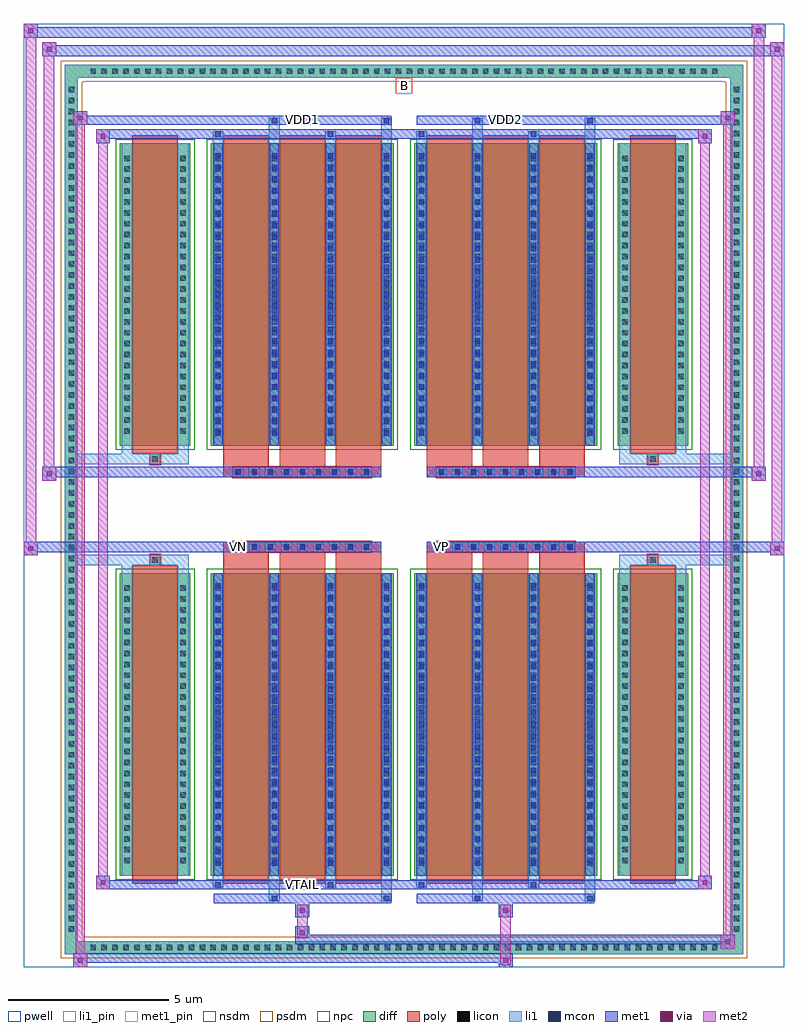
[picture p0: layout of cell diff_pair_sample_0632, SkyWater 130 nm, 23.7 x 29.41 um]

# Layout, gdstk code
import gdstk
lib = gdstk.Library(unit=1e-6, precision=5e-09)
def R(c, l, rs):  # rectangles x0, y0, x1, y1
    for r in rs: c.add(gdstk.rectangle(r[:2], r[2:], *l))
def A(c, l, x, y, w, h, nx, ny, dx, dy):  # array of equal rectangles
    R(c, l, [(x+i*dx, y+j*dy, x+i*dx+w, y+j*dy+h) for i in range(nx) for j in range(ny)])
def P(c, l, *ps):  # polygons
    for p in ps: c.add(gdstk.Polygon(p, *l))
pwell = (64, 44)
diff = (65, 20)
poly = (66, 20)
licon = (66, 44)
li1_pin = (67, 16)
li1 = (67, 20)
mcon = (67, 44)
met1_pin = (68, 16)
met1 = (68, 20)
via = (68, 44)
met2 = (69, 20)
nsdm = (93, 44)
psdm = (94, 20)
npc = (95, 20)

diff_pair_sample_0632 = lib.new_cell('diff_pair_sample_0632')
R(diff_pair_sample_0632, pwell, [(-11.85,-14.27,11.85,15.14), (-9.17,-12.46,-0.01,-0.8), (0.01,-12.46,9.17,-0.8), (-9.17,0.8,-0.01,12.46), (0.01,0.8,9.17,12.46)])
A(diff_pair_sample_0632, diff, -9.895, -13.87, 0.41, 0.41, 58, 2, 0.34, 27.33)
A(diff_pair_sample_0632, diff, -10.58, -13.295, 0.41, 0.41, 1, 78, 0, 0.34)
A(diff_pair_sample_0632, diff, 10.17, -13.295, 0.41, 0.41, 1, 78, 0, 0.34)
R(diff_pair_sample_0632, diff, [(-9.895,-13.87,9.895,-13.46), (-10.58,-13.295,-10.17,13.295), (10.17,-13.295,10.58,13.295), (-8.86,-11.415,-6.66,-1.985), (-6.02,-11.415,-0.32,-1.985), (0.32,-11.415,6.02,-1.985), (6.66,-11.415,8.86,-1.985), (-8.86,1.985,-6.66,11.415), (-6.02,1.985,-0.32,11.415), (0.32,1.985,6.02,11.415), (6.66,1.985,8.86,11.415), (-9.895,13.46,9.895,13.87)])
P(diff_pair_sample_0632, diff, [(10.58,13.87),(-10.58,13.87),(-10.58,-13.46),(-10.17,-13.46),(-10.17,13.46),(10.17,13.46),(10.17,-13.46),(-10.17,-13.46),(-10.58,-13.46),(-10.58,-13.87),(10.58,-13.87)])
A(diff_pair_sample_0632, poly, -5.63, -11.665, 1.42, 9.93, 3, 2, 1.75, 13.4)
A(diff_pair_sample_0632, poly, 0.71, -11.665, 1.42, 9.93, 3, 2, 1.75, 13.4)
A(diff_pair_sample_0632, poly, -5.63, -1.735, 1.42, 0.405, 3, 2, 1.75, 3.065)
A(diff_pair_sample_0632, poly, 0.71, -1.735, 1.42, 0.405, 3, 2, 1.75, 3.065)
A(diff_pair_sample_0632, poly, -5.335, -1.33, 0.33, 0.33, 9, 2, 0.5, 2.33)
A(diff_pair_sample_0632, poly, 1.005, -1.33, 0.33, 0.33, 9, 2, 0.5, 2.33)
R(diff_pair_sample_0632, poly, [(-8.47,-11.665,-7.05,-1.735), (7.05,-11.665,8.47,-1.735), (-7.925,-1.735,-7.595,-1.405), (-7.925,-1.735,-7.595,-1.405), (7.595,-1.735,7.925,-1.405), (7.595,-1.735,7.925,-1.405), (-5.63,-1.33,-0.71,-1), (0.71,-1.33,5.63,-1), (-5.63,1,-0.71,1.33), (0.71,1,5.63,1.33), (-7.925,1.405,-7.595,1.735), (-7.925,1.405,-7.595,1.735), (7.595,1.405,7.925,1.735), (7.595,1.405,7.925,1.735), (-8.47,1.735,-7.05,11.665), (7.05,1.735,8.47,11.665)])
A(diff_pair_sample_0632, licon, -9.775, -13.75, 0.17, 0.17, 58, 2, 0.34, 27.33)
A(diff_pair_sample_0632, licon, -10.46, -13.175, 0.17, 0.17, 1, 78, 0, 0.34)
A(diff_pair_sample_0632, licon, 10.29, -13.175, 0.17, 0.17, 1, 78, 0, 0.34)
A(diff_pair_sample_0632, licon, -8.72, -11.035, 0.17, 0.17, 1, 26, 0, 0.34)
A(diff_pair_sample_0632, licon, -6.97, -11.035, 0.17, 0.17, 1, 26, 0, 0.34)
A(diff_pair_sample_0632, licon, -5.88, -11.035, 0.17, 0.17, 4, 26, 1.75, 0.34)
A(diff_pair_sample_0632, licon, 0.46, -11.035, 0.17, 0.17, 4, 26, 1.75, 0.34)
A(diff_pair_sample_0632, licon, 6.8, -11.035, 0.17, 0.17, 1, 26, 0, 0.34)
A(diff_pair_sample_0632, licon, 8.55, -11.035, 0.17, 0.17, 1, 26, 0, 0.34)
A(diff_pair_sample_0632, licon, -5.255, -1.25, 0.17, 0.17, 9, 2, 0.5, 2.33)
A(diff_pair_sample_0632, licon, 1.085, -1.25, 0.17, 0.17, 9, 2, 0.5, 2.33)
A(diff_pair_sample_0632, licon, -8.72, 2.365, 0.17, 0.17, 1, 26, 0, 0.34)
A(diff_pair_sample_0632, licon, -6.97, 2.365, 0.17, 0.17, 1, 26, 0, 0.34)
A(diff_pair_sample_0632, licon, -5.88, 2.365, 0.17, 0.17, 4, 26, 1.75, 0.34)
A(diff_pair_sample_0632, licon, 0.46, 2.365, 0.17, 0.17, 4, 26, 1.75, 0.34)
A(diff_pair_sample_0632, licon, 6.8, 2.365, 0.17, 0.17, 1, 26, 0, 0.34)
A(diff_pair_sample_0632, licon, 8.55, 2.365, 0.17, 0.17, 1, 26, 0, 0.34)
R(diff_pair_sample_0632, licon, [(-7.845,-1.655,-7.675,-1.485), (7.675,-1.655,7.845,-1.485), (-7.845,1.485,-7.675,1.655), (7.675,1.485,7.845,1.655)])
R(diff_pair_sample_0632, li1_pin, [(-0.25,12.96,0.25,13.46)])
A(diff_pair_sample_0632, li1, -9.855, -13.83, 0.33, 0.33, 58, 2, 0.34, 27.33)
A(diff_pair_sample_0632, li1, -10.54, -13.255, 0.33, 0.33, 1, 78, 0, 0.34)
A(diff_pair_sample_0632, li1, 10.21, -13.255, 0.33, 0.33, 1, 78, 0, 0.34)
A(diff_pair_sample_0632, li1, -5.96, -11.415, 0.33, 9.43, 4, 2, 1.75, 13.4)
A(diff_pair_sample_0632, li1, 0.38, -11.415, 0.33, 9.43, 4, 2, 1.75, 13.4)
A(diff_pair_sample_0632, li1, -8.8, -11.115, 0.33, 0.33, 1, 26, 0, 0.34)
A(diff_pair_sample_0632, li1, -7.05, -11.115, 0.33, 0.33, 1, 26, 0, 0.34)
A(diff_pair_sample_0632, li1, -5.96, -11.115, 0.33, 0.33, 4, 26, 1.75, 0.34)
A(diff_pair_sample_0632, li1, 0.38, -11.115, 0.33, 0.33, 4, 26, 1.75, 0.34)
A(diff_pair_sample_0632, li1, 6.72, -11.115, 0.33, 0.33, 1, 26, 0, 0.34)
A(diff_pair_sample_0632, li1, 8.47, -11.115, 0.33, 0.33, 1, 26, 0, 0.34)
A(diff_pair_sample_0632, li1, -5.88, -11.105, 0.17, 0.17, 4, 25, 1.75, 0.36)
A(diff_pair_sample_0632, li1, -5.88, -11.105, 0.17, 8.81, 4, 2, 1.75, 13.4)
A(diff_pair_sample_0632, li1, 0.46, -11.105, 0.17, 0.17, 4, 25, 1.75, 0.36)
A(diff_pair_sample_0632, li1, 0.46, -11.105, 0.17, 8.81, 4, 2, 1.75, 13.4)
A(diff_pair_sample_0632, li1, -5.335, -1.33, 0.33, 0.33, 9, 2, 0.5, 2.33)
A(diff_pair_sample_0632, li1, 1.005, -1.33, 0.33, 0.33, 9, 2, 0.5, 2.33)
A(diff_pair_sample_0632, li1, -8.8, 2.285, 0.33, 0.33, 1, 26, 0, 0.34)
A(diff_pair_sample_0632, li1, -7.05, 2.285, 0.33, 0.33, 1, 26, 0, 0.34)
A(diff_pair_sample_0632, li1, -5.96, 2.285, 0.33, 0.33, 4, 26, 1.75, 0.34)
A(diff_pair_sample_0632, li1, 0.38, 2.285, 0.33, 0.33, 4, 26, 1.75, 0.34)
A(diff_pair_sample_0632, li1, 6.72, 2.285, 0.33, 0.33, 1, 26, 0, 0.34)
A(diff_pair_sample_0632, li1, 8.47, 2.285, 0.33, 0.33, 1, 26, 0, 0.34)
A(diff_pair_sample_0632, li1, -5.88, 2.295, 0.17, 0.17, 4, 25, 1.75, 0.36)
A(diff_pair_sample_0632, li1, 0.46, 2.295, 0.17, 0.17, 4, 25, 1.75, 0.36)
R(diff_pair_sample_0632, li1, [(-10.58,-13.87,-10.17,-13.46), (-10.58,-13.87,-10.17,-13.46), (-10.17,-13.87,10.17,-13.46), (10.17,-13.87,10.58,-13.46), (10.17,-13.87,10.58,-13.46), (-10.58,-13.46,-10.17,13.46), (10.17,-13.46,10.58,13.46), (-4.21,-12.22,-3.88,-11.415), (-4.13,-12.22,-3.96,-12.05), (-0.71,-12.22,-0.38,-11.415), (-0.63,-12.22,-0.46,-12.05), (2.13,-12.22,2.46,-11.415), (2.21,-12.22,2.38,-12.05), (5.63,-12.22,5.96,-11.415), (5.71,-12.22,5.88,-12.05), (-5.96,-11.79,-5.63,-11.415), (-5.88,-11.79,-5.71,-11.62), (-2.46,-11.79,-2.13,-11.415), (-2.38,-11.79,-2.21,-11.62), (0.38,-11.79,0.71,-11.415), (0.46,-11.79,0.63,-11.62), (3.88,-11.79,4.21,-11.415), (3.96,-11.79,4.13,-11.62), (-8.8,-11.415,-8.47,-1.985), (-7.05,-11.415,-6.72,-1.985), (6.72,-11.415,7.05,-1.985), (8.47,-11.415,8.8,-1.985), (-8.8,-1.985,-8.47,-1.405), (-7.05,-1.985,-6.72,-1.405), (6.72,-1.985,7.05,-1.405), (8.47,-1.985,8.8,-1.405), (-10.58,-1.735,-7.925,-1.405), (-8.8,-1.735,-7.925,-1.405), (-7.925,-1.735,-7.595,-1.405), (-7.595,-1.735,-6.72,-1.405), (6.72,-1.735,7.595,-1.405), (7.595,-1.735,7.925,-1.405), (7.595,-1.735,10.58,-1.405), (7.925,-1.735,8.8,-1.405), (-10.58,1.405,-7.925,1.735), (-8.8,1.405,-7.925,1.735), (-8.8,1.405,-8.47,1.985), (-7.925,1.405,-7.595,1.735), (-7.595,1.405,-6.72,1.735), (-7.05,1.405,-6.72,1.985), (6.72,1.405,7.595,1.735), (6.72,1.405,7.05,1.985), (7.595,1.405,7.925,1.735), (7.595,1.405,10.58,1.735), (7.925,1.405,8.8,1.735), (8.47,1.405,8.8,1.985), (-8.8,1.985,-8.47,11.415), (-7.05,1.985,-6.72,11.415), (6.72,1.985,7.05,11.415), (8.47,1.985,8.8,11.415), (-5.96,11.415,-5.63,11.79), (-4.21,11.415,-3.88,12.22), (-2.46,11.415,-2.13,11.79), (-0.71,11.415,-0.38,12.22), (0.38,11.415,0.71,11.79), (2.13,11.415,2.46,12.22), (3.88,11.415,4.21,11.79), (5.63,11.415,5.96,12.22), (-5.88,11.62,-5.71,11.79), (-2.38,11.62,-2.21,11.79), (0.46,11.62,0.63,11.79), (3.96,11.62,4.13,11.79), (-4.13,12.05,-3.96,12.22), (-0.63,12.05,-0.46,12.22), (2.21,12.05,2.38,12.22), (5.71,12.05,5.88,12.22), (-10.58,13.46,-10.17,13.87), (-10.58,13.46,-10.17,13.87), (-10.17,13.46,10.17,13.87), (10.17,13.46,10.58,13.87), (10.17,13.46,10.58,13.87)])
A(diff_pair_sample_0632, mcon, -5.88, -11.105, 0.17, 0.17, 4, 25, 1.75, 0.36)
A(diff_pair_sample_0632, mcon, 0.46, -11.105, 0.17, 0.17, 4, 25, 1.75, 0.36)
A(diff_pair_sample_0632, mcon, -5.255, -1.25, 0.17, 0.17, 9, 2, 0.5, 2.33)
A(diff_pair_sample_0632, mcon, 1.085, -1.25, 0.17, 0.17, 9, 2, 0.5, 2.33)
A(diff_pair_sample_0632, mcon, -5.88, 2.295, 0.17, 0.17, 4, 25, 1.75, 0.36)
A(diff_pair_sample_0632, mcon, 0.46, 2.295, 0.17, 0.17, 4, 25, 1.75, 0.36)
R(diff_pair_sample_0632, mcon, [(-4.13,-12.22,-3.96,-12.05), (-0.63,-12.22,-0.46,-12.05), (2.21,-12.22,2.38,-12.05), (5.71,-12.22,5.88,-12.05), (-5.88,-11.79,-5.71,-11.62), (-2.38,-11.79,-2.21,-11.62), (0.46,-11.79,0.63,-11.62), (3.96,-11.79,4.13,-11.62), (-5.88,11.62,-5.71,11.79), (-2.38,11.62,-2.21,11.79), (0.46,11.62,0.63,11.79), (3.96,11.62,4.13,11.79), (-4.13,12.05,-3.96,12.22), (-0.63,12.05,-0.46,12.22), (2.21,12.05,2.38,12.22), (5.71,12.05,5.88,12.22)])
R(diff_pair_sample_0632, met1_pin, [(-3.305,-11.83,-3.035,-11.56), (-5.305,-1.29,-5.035,-1.02), (1.035,-1.29,1.305,-1.02), (-3.305,12.01,-3.035,12.28), (3.035,12.01,3.305,12.28)])
A(diff_pair_sample_0632, met1, -5.94, -11.415, 0.29, 9.43, 4, 2, 1.75, 13.4)
A(diff_pair_sample_0632, met1, 0.4, -11.415, 0.29, 9.43, 4, 2, 1.75, 13.4)
A(diff_pair_sample_0632, met1, -5.94, -11.165, 0.29, 0.29, 4, 25, 1.75, 0.36)
A(diff_pair_sample_0632, met1, 0.4, -11.165, 0.29, 0.29, 4, 25, 1.75, 0.36)
A(diff_pair_sample_0632, met1, -5.315, -1.31, 0.29, 0.29, 9, 2, 0.5, 2.33)
A(diff_pair_sample_0632, met1, 1.025, -1.31, 0.29, 0.29, 9, 2, 0.5, 2.33)
A(diff_pair_sample_0632, met1, -5.94, 2.235, 0.29, 0.29, 4, 25, 1.75, 0.36)
A(diff_pair_sample_0632, met1, 0.4, 2.235, 0.29, 0.29, 4, 25, 1.75, 0.36)
R(diff_pair_sample_0632, met1, [(-10.31,-14.27,-9.88,-13.84), (2.955,-14.27,3.385,-13.84), (-10.31,-14.13,3.385,-13.84), (9.88,-13.7,10.31,-13.27), (-3.385,-13.56,10.31,-13.27), (-3.385,-13.42,-2.955,-12.99), (-3.385,-12.71,-2.955,-12.28), (2.955,-12.71,3.385,-12.28), (-5.94,-12.28,-0.4,-11.99), (-4.19,-12.28,-3.9,-11.99), (-0.69,-12.28,-0.4,-11.99), (0.4,-12.28,5.94,-11.99), (2.15,-12.28,2.44,-11.99), (5.65,-12.28,5.94,-11.99), (-9.6,-11.85,-9.17,-11.42), (-9.6,-11.85,-5.94,-11.56), (-5.94,-11.85,-5.65,-11.56), (-5.94,-11.85,-0.4,-11.56), (-2.44,-11.85,-2.15,-11.56), (-0.4,-11.85,0.4,-11.56), (0.4,-11.85,0.69,-11.56), (0.4,-11.85,5.94,-11.56), (3.9,-11.85,4.19,-11.56), (5.94,-11.85,9.6,-11.56), (9.17,-11.85,9.6,-11.42), (-11.85,-1.43,-11.42,-1), (11.42,-1.43,11.85,-1), (-11.85,-1.33,-0.71,-1), (-5.63,-1.33,-0.71,-1), (0.71,-1.33,5.63,-1), (0.71,-1.33,11.85,-1), (-11.28,0.9,-10.85,1.33), (10.85,0.9,11.28,1.33), (-11.28,1,-5.63,1.33), (-5.63,1,-0.71,1.33), (0.71,1,5.63,1.33), (5.63,1,11.28,1.33), (-9.6,11.42,-9.17,11.85), (9.17,11.42,9.6,11.85), (-9.6,11.56,-5.94,11.85), (-5.94,11.56,-5.65,11.85), (-5.94,11.56,-0.4,11.85), (-2.44,11.56,-2.15,11.85), (-0.4,11.56,0.4,11.85), (0.4,11.56,0.69,11.85), (0.4,11.56,5.94,11.85), (3.9,11.56,4.19,11.85), (5.94,11.56,9.6,11.85), (-10.31,11.99,-9.88,12.42), (-10.31,11.99,-5.94,12.28), (-5.94,11.99,-0.4,12.28), (-4.19,11.99,-3.9,12.28), (-0.69,11.99,-0.4,12.28), (0.4,11.99,5.94,12.28), (2.15,11.99,2.44,12.28), (5.65,11.99,5.94,12.28), (5.94,11.99,10.31,12.28), (9.88,11.99,10.31,12.42), (-11.28,14.14,-10.85,14.57), (-11.28,14.14,-9.17,14.47), (-9.17,14.14,9.17,14.47), (9.17,14.14,11.85,14.47), (11.42,14.14,11.85,14.57), (-11.85,14.71,-11.42,15.14), (-11.85,14.71,-9.17,15.04), (-9.17,14.71,9.17,15.04), (9.17,14.71,11.28,15.04), (10.85,14.71,11.28,15.14)])
R(diff_pair_sample_0632, via, [(-10.17,-14.13,-10.02,-13.98), (3.095,-14.13,3.245,-13.98), (10.02,-13.56,10.17,-13.41), (-3.245,-13.28,-3.095,-13.13), (-3.245,-12.57,-3.095,-12.42), (3.095,-12.57,3.245,-12.42), (-9.46,-11.71,-9.31,-11.56), (9.31,-11.71,9.46,-11.56), (-11.71,-1.29,-11.56,-1.14), (11.56,-1.29,11.71,-1.14), (-11.14,1.04,-10.99,1.19), (10.99,1.04,11.14,1.19), (-9.46,11.56,-9.31,11.71), (9.31,11.56,9.46,11.71), (-10.17,12.13,-10.02,12.28), (10.02,12.13,10.17,12.28), (-11.14,14.28,-10.99,14.43), (11.56,14.28,11.71,14.43), (-11.71,14.85,-11.56,15), (10.99,14.85,11.14,15)])
R(diff_pair_sample_0632, met2, [(-10.31,-14.27,-9.88,-13.84), (-10.24,-14.27,-9.95,12.42), (-9.95,-14.27,-9.88,-13.84), (-10.26,-14.22,-9.93,-13.89), (3.005,-14.22,3.335,-13.89), (3.005,-13.89,3.335,-12.66), (9.88,-13.7,10.31,-13.27), (9.95,-13.7,10.24,12.42), (10.24,-13.7,10.31,-13.27), (9.93,-13.65,10.26,-13.32), (-3.335,-13.37,-3.005,-13.04), (-3.335,-13.04,-3.005,-12.66), (-3.335,-12.66,-3.005,-12.33), (3.005,-12.66,3.335,-12.33), (-9.6,-11.85,-9.17,-11.42), (-9.53,-11.85,-9.24,11.85), (-9.24,-11.85,-9.17,-11.42), (9.17,-11.85,9.6,-11.42), (9.24,-11.85,9.53,11.85), (9.53,-11.85,9.6,-11.42), (-9.55,-11.8,-9.22,-11.47), (9.22,-11.8,9.55,-11.47), (-11.85,-1.43,-11.42,-1), (-11.8,-1.43,-11.47,15.14), (-11.47,-1.43,-11.42,-1), (11.42,-1.43,11.85,-1), (11.47,-1.43,11.8,14.57), (11.8,-1.43,11.85,-1), (-11.8,-1.38,-11.47,-1.05), (11.47,-1.38,11.8,-1.05), (-11.28,0.9,-10.85,1.33), (-11.23,0.9,-10.9,14.57), (-10.9,0.9,-10.85,1.33), (10.85,0.9,11.28,1.33), (10.9,0.9,11.23,15.14), (11.23,0.9,11.28,1.33), (-11.23,0.95,-10.9,1.28), (10.9,0.95,11.23,1.28), (-9.6,11.42,-9.17,11.85), (-9.24,11.42,-9.17,11.85), (9.17,11.42,9.6,11.85), (9.53,11.42,9.6,11.85), (-9.55,11.47,-9.22,11.8), (9.22,11.47,9.55,11.8), (-10.31,11.99,-9.88,12.42), (-9.95,11.99,-9.88,12.42), (9.88,11.99,10.31,12.42), (10.24,11.99,10.31,12.42), (-10.26,12.04,-9.93,12.37), (9.93,12.04,10.26,12.37), (-11.28,14.14,-10.85,14.57), (-10.9,14.14,-10.85,14.57), (11.42,14.14,11.85,14.57), (11.8,14.14,11.85,14.57), (-11.23,14.19,-10.9,14.52), (11.47,14.19,11.8,14.52), (-11.85,14.71,-11.42,15.14), (-11.47,14.71,-11.42,15.14), (10.85,14.71,11.28,15.14), (11.23,14.71,11.28,15.14), (-11.8,14.76,-11.47,15.09), (10.9,14.76,11.23,15.09)])
R(diff_pair_sample_0632, nsdm, [(-8.99,-11.545,-6.53,-1.855), (-6.15,-11.545,-0.19,-1.855), (0.19,-11.545,6.15,-1.855), (6.53,-11.545,8.99,-1.855), (-8.99,1.855,-6.53,11.545), (-6.15,1.855,-0.19,11.545), (0.19,1.855,6.15,11.545), (6.53,1.855,8.99,11.545)])
P(diff_pair_sample_0632, psdm, [(10.71,14),(-10.71,14),(-10.71,-13.33),(-10.04,-13.33),(-10.04,13.33),(10.04,13.33),(10.04,-13.33),(-10.04,-13.33),(-10.71,-13.33),(-10.71,-14),(10.71,-14)])
A(diff_pair_sample_0632, npc, -5.355, -1.35, 0.37, 0.37, 9, 2, 0.5, 2.33)
A(diff_pair_sample_0632, npc, 0.985, -1.35, 0.37, 0.37, 9, 2, 0.5, 2.33)
R(diff_pair_sample_0632, npc, [(-7.945,-1.755,-7.575,-1.385), (7.575,-1.755,7.945,-1.385), (-5.355,-1.35,-4.485,-0.98), (-5.355,-1.35,-4.485,-0.98), (-4.855,-1.35,-3.985,-0.98), (-4.855,-1.35,-3.985,-0.98), (-4.355,-1.35,-3.485,-0.98), (-4.355,-1.35,-3.485,-0.98), (-3.855,-1.35,-2.985,-0.98), (-3.855,-1.35,-2.985,-0.98), (-3.355,-1.35,-2.485,-0.98), (-3.355,-1.35,-2.485,-0.98), (-2.855,-1.35,-1.985,-0.98), (-2.855,-1.35,-1.985,-0.98), (-2.355,-1.35,-1.485,-0.98), (-2.355,-1.35,-1.485,-0.98), (-1.855,-1.35,-0.985,-0.98), (-1.855,-1.35,-0.985,-0.98), (0.985,-1.35,1.855,-0.98), (0.985,-1.35,1.855,-0.98), (1.485,-1.35,2.355,-0.98), (1.485,-1.35,2.355,-0.98), (1.985,-1.35,2.855,-0.98), (1.985,-1.35,2.855,-0.98), (2.485,-1.35,3.355,-0.98), (2.485,-1.35,3.355,-0.98), (2.985,-1.35,3.855,-0.98), (2.985,-1.35,3.855,-0.98), (3.485,-1.35,4.355,-0.98), (3.485,-1.35,4.355,-0.98), (3.985,-1.35,4.855,-0.98), (3.985,-1.35,4.855,-0.98), (4.485,-1.35,5.355,-0.98), (4.485,-1.35,5.355,-0.98), (-5.355,0.98,-4.485,1.35), (-5.355,0.98,-4.485,1.35), (-4.855,0.98,-3.985,1.35), (-4.855,0.98,-3.985,1.35), (-4.355,0.98,-3.485,1.35), (-4.355,0.98,-3.485,1.35), (-3.855,0.98,-2.985,1.35), (-3.855,0.98,-2.985,1.35), (-3.355,0.98,-2.485,1.35), (-3.355,0.98,-2.485,1.35), (-2.855,0.98,-1.985,1.35), (-2.855,0.98,-1.985,1.35), (-2.355,0.98,-1.485,1.35), (-2.355,0.98,-1.485,1.35), (-1.855,0.98,-0.985,1.35), (-1.855,0.98,-0.985,1.35), (0.985,0.98,1.855,1.35), (0.985,0.98,1.855,1.35), (1.485,0.98,2.355,1.35), (1.485,0.98,2.355,1.35), (1.985,0.98,2.855,1.35), (1.985,0.98,2.855,1.35), (2.485,0.98,3.355,1.35), (2.485,0.98,3.355,1.35), (2.985,0.98,3.855,1.35), (2.985,0.98,3.855,1.35), (3.485,0.98,4.355,1.35), (3.485,0.98,4.355,1.35), (3.985,0.98,4.855,1.35), (3.985,0.98,4.855,1.35), (4.485,0.98,5.355,1.35), (4.485,0.98,5.355,1.35), (-7.945,1.385,-7.575,1.755), (7.575,1.385,7.945,1.755)])
diff_pair_sample_0632.add(gdstk.Label('VTAIL', (-3.17,-11.695), layer=68, texttype=5))
diff_pair_sample_0632.add(gdstk.Label('VN', (-5.17,-1.155), layer=68, texttype=5))
diff_pair_sample_0632.add(gdstk.Label('VP', (1.17,-1.155), layer=68, texttype=5))
diff_pair_sample_0632.add(gdstk.Label('B', (0,13.21), layer=67, texttype=5))
diff_pair_sample_0632.add(gdstk.Label('VDD2', (3.17,12.145), layer=68, texttype=5))
diff_pair_sample_0632.add(gdstk.Label('VDD1', (-3.17,12.145), layer=68, texttype=5))

lib.write_gds('diff_pair_sample_0632.gds')
